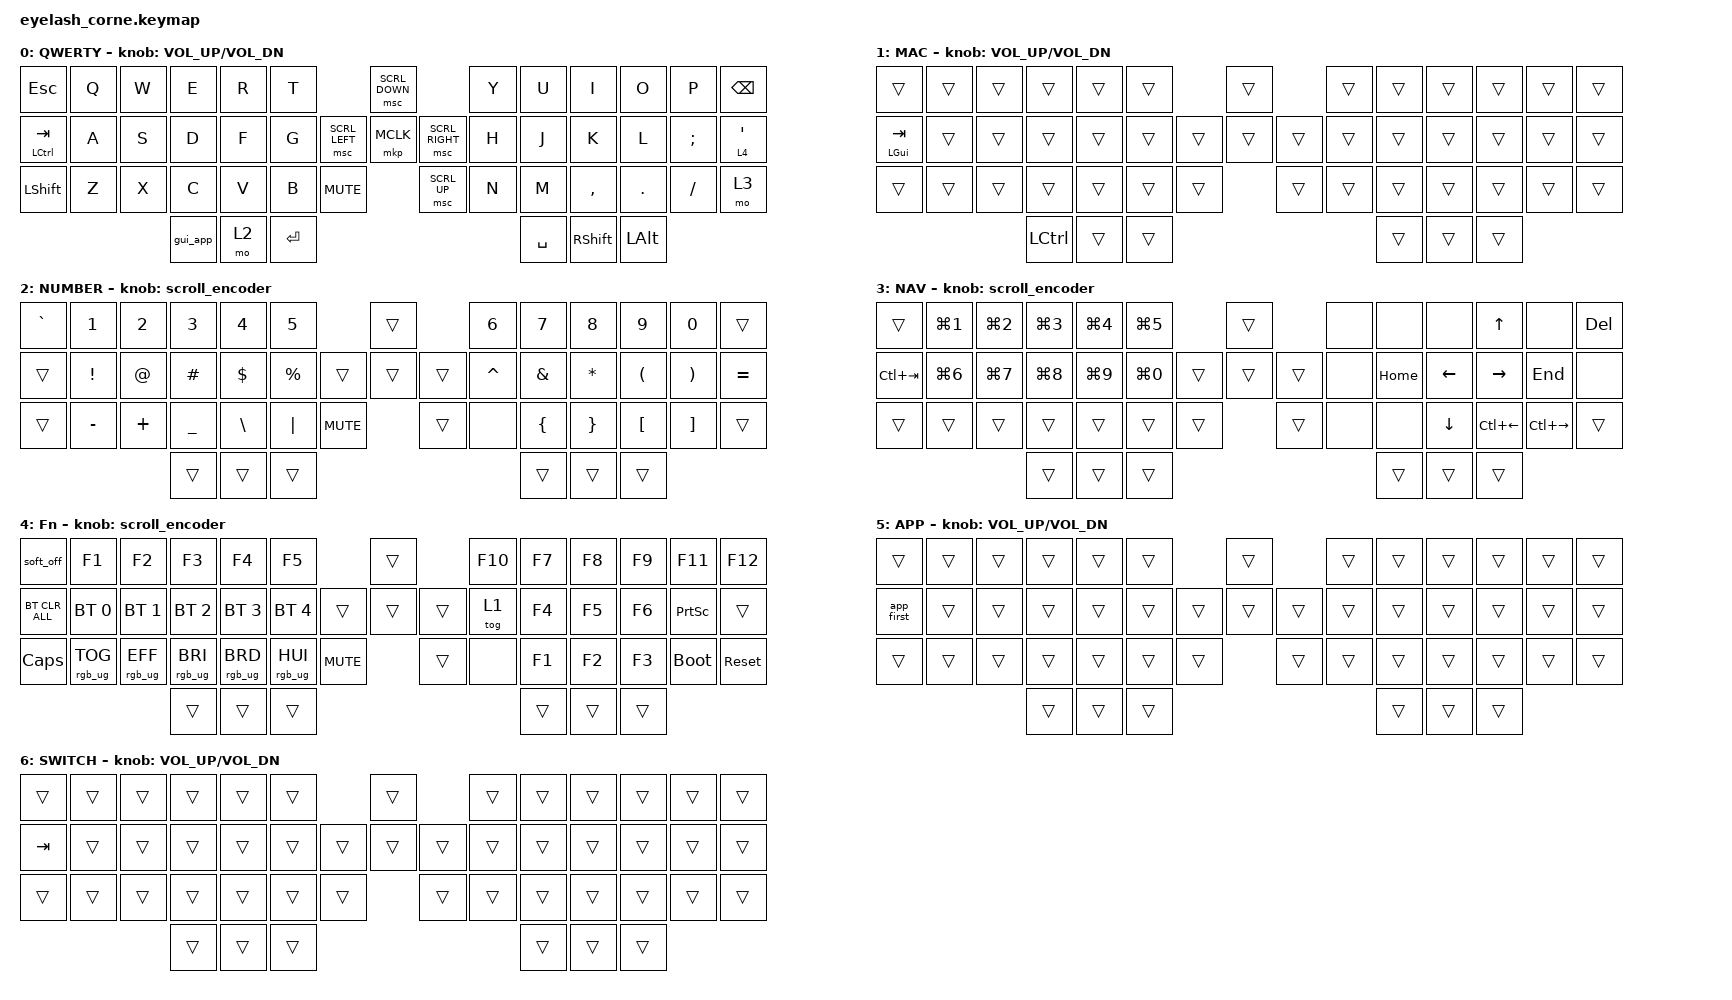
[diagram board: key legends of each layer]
#define ZMK_POINTING_DEFAULT_MOVE_VAL 2000  // 600
#define ZMK_POINTING_DEFAULT_SCRL_VAL 10

#include <input/processors.dtsi>
#include <zephyr/dt-bindings/input/input-event-codes.h>
#include <behaviors.dtsi>
#include <dt-bindings/zmk/bt.h>
#include <dt-bindings/zmk/keys.h>
#include <dt-bindings/zmk/outputs.h>
#include <dt-bindings/zmk/pointing.h>
#include <dt-bindings/zmk/rgb.h>

&mmv_input_listener { input-processors = <&zip_xy_scaler 1 1>; };

&msc_input_listener { input-processors = <&zip_scroll_scaler 1 1>; };

&msc {
    acceleration-exponent = <0>;
    time-to-max-speed-ms = <300>;
    delay-ms = <0>;
};

&mmv {
    time-to-max-speed-ms = <400>;
    acceleration-exponent = <1>;
    trigger-period-ms = <16>;
};

&lt {
    flavor = "tap-preferred";
    tapping-term-ms = <200>;
    quick-tap-ms = <150>;
    require-prior-idle-ms = <125>;
};

&mt {
    flavor = "tap-preferred";
    tapping-term-ms = <200>;
    quick-tap-ms = <150>;
    require-prior-idle-ms = <125>;
};

/ {
    rgb_encoder: rgb_encoder {
        compatible = "zmk,behavior-sensor-rotate";
        #sensor-binding-cells = <0>;
        bindings = <&rgb_ug RGB_BRI>, <&rgb_ug RGB_BRD>;
    };

    // Tab on tap, a modifier on hold (Ctrl; Gui on the MAC layer).
    // "balanced" so Ctrl+key registers as soon as the other key is tapped,
    // without waiting out the tapping term. No require-prior-idle: Ctrl
    // shortcuts must work immediately after typing.
    mod_tab: mod_tab {
        compatible = "zmk,behavior-hold-tap";
        #binding-cells = <2>;
        flavor = "balanced";
        tapping-term-ms = <200>;
        quick-tap-ms = <150>;
        bindings = <&kp>, <&kp>;
    };

    scroll_encoder: scroll_encoder {
        compatible = "zmk,behavior-sensor-rotate";
        #sensor-binding-cells = <0>;
        bindings = <&msc SCRL_DOWN>, <&msc SCRL_UP>;

        tap-ms = <100>;
    };

    macros {
        // Left outer thumb: Gui, plus the APP layer so that Tab can turn the
        // hold into an Alt+Tab app switcher. Releasing the thumb drops
        // everything the switcher may have left held; releasing a modifier
        // that is not held is a no-op in ZMK.
        gui_app: gui_app {
            compatible = "zmk,behavior-macro";
            #binding-cells = <0>;
            wait-ms = <0>;
            tap-ms = <0>;
            bindings =
                <&macro_press &kp LGUI &mo 5>,
                <&macro_pause_for_release>,
                <&macro_release &mo 6 &mo 5 &kp LALT &kp LGUI>;
        };

        // First Tab (the key left of A) while the thumb is held: swap Gui for Alt, leave Alt
        // held, and move to the SWITCH layer where Tab is a plain Tab, so
        // further taps keep cycling.
        //
        // Gui and Alt must never be down together: Android toggles Caps Lock
        // when a Gui+Alt chord is released. Gui must not look like a bare
        // tap either, since that opens the launcher/assistant. So tap right
        // Ctrl first (any non-Gui key cancels the bare-tap action), then
        // release Gui, and only then bring Alt down.
        app_first: app_first {
            compatible = "zmk,behavior-macro";
            #binding-cells = <0>;
            wait-ms = <10>;
            tap-ms = <10>;
            bindings =
                <&macro_tap &kp RCTRL>,
                <&macro_release &kp LGUI>,
                <&macro_press &kp LALT &mo 6>,
                <&macro_tap &kp TAB>;
        };
    };

    keymap {
        compatible = "zmk,keymap";

        default_layer {
            display-name = "QWERTY";
            bindings = <
&kp ESC    &kp Q  &kp W  &kp E     &kp R  &kp T                                    &msc SCRL_DOWN                   &kp Y        &kp U  &kp I      &kp O    &kp P     &kp BSPC
&mod_tab LCTRL TAB  &kp A  &kp S  &kp D  &kp F  &kp G                  &msc SCRL_LEFT  &mkp MCLK       &msc SCRL_RIGHT  &kp H        &kp J  &kp K      &kp L    &kp SEMI  &lt 4 SQT
&kp LSHFT  &kp Z  &kp X  &kp C     &kp V  &kp B        &kp C_MUTE                    &msc SCRL_UP                     &kp N        &kp M  &kp COMMA  &kp DOT  &kp FSLH  &mo 3
                         &gui_app  &mo 2  &kp ENTER                                              &kp SPACE  &kp RSHFT  &kp LALT
            >;

            sensor-bindings = <&inc_dec_kp C_VOLUME_UP C_VOL_DN>;
        };

        mac_layer {
            display-name = "MAC";
            bindings = <
&trans  &trans  &trans  &trans  &trans  &trans                                  &trans                          &trans  &trans  &trans  &trans  &trans  &trans
&mod_tab LGUI TAB  &trans  &trans  &trans  &trans  &trans                  &trans          &trans          &trans           &trans  &trans  &trans  &trans  &trans  &trans
&trans  &trans  &trans  &trans  &trans  &trans  &trans                          &trans                          &trans  &trans  &trans  &trans  &trans  &trans
                        &kp LCTRL  &trans  &trans                                                &trans  &trans  &trans
            >;

            sensor-bindings = <&inc_dec_kp C_VOLUME_UP C_VOL_DN>;
        };

        lower_layer {
            display-name = "NUMBER";
            bindings = <
&kp GRAVE  &kp N1      &kp N2      &kp N3      &kp N4    &kp N5                                         &trans                          &kp N6     &kp N7    &kp N8     &kp N9    &kp N0    &trans
&trans     &kp EXCL    &kp AT      &kp HASH    &kp DLLR  &kp PRCNT                    &trans          &trans          &trans           &kp CARET  &kp AMPS  &kp ASTRK  &kp LPAR  &kp RPAR  &kp EQUAL
&trans     &kp MINUS   &kp PLUS    &kp UNDER   &kp BSLH  &kp PIPE        &kp C_MUTE                    &trans                          &none      &kp LBRC  &kp RBRC   &kp LBKT  &kp RBKT  &trans
                                         &trans        &trans        &trans                                                                          &trans     &trans    &trans
            >;

            sensor-bindings = <&scroll_encoder>;
        };

        raise_layer {
            display-name = "NAV";
            bindings = <
&trans       &kp LG(N1)  &kp LG(N2)      &kp LG(N3)      &kp LG(N4)       &kp LG(N5)                                 &trans                          &none  &none     &none     &kp UP        &none          &kp DEL
&kp LC(TAB)  &kp LG(N6)  &kp LG(N7)      &kp LG(N8)      &kp LG(N9)       &kp LG(N0)              &trans         &trans          &trans           &none  &kp HOME  &kp LEFT  &kp RIGHT     &kp END        &none
&trans       &trans      &trans          &trans          &trans           &trans      &trans                        &trans                          &none  &none     &kp DOWN  &kp LC(LEFT)  &kp LC(RIGHT)  &trans
                                         &trans          &trans           &trans                                                                    &trans  &trans  &trans
            >;

            sensor-bindings = <&scroll_encoder>;
        };

        layer_3 {
            display-name = "Fn";
            bindings = <
&soft_off       &kp F1      &kp F2        &kp F3        &kp F4        &kp F5                                  &trans                          &kp F10    &kp F7  &kp F8  &kp F9  &kp F11          &kp F12
&bt BT_CLR_ALL  &bt BT_SEL 0    &bt BT_SEL 1  &bt BT_SEL 2  &bt BT_SEL 3  &bt BT_SEL 4                &trans          &trans          &trans           &tog 1     &kp F4  &kp F5  &kp F6  &kp PRINTSCREEN  &trans
&kp CAPS        &rgb_ug RGB_TOG  &rgb_ug RGB_EFF  &rgb_ug RGB_BRI  &rgb_ug RGB_BRD  &rgb_ug RGB_HUI  &kp C_MUTE                    &trans                          &none      &kp F1  &kp F2  &kp F3  &bootloader      &sys_reset
                                       &trans       &trans     &trans                                                                   &trans     &trans  &trans
            >;

            sensor-bindings = <&scroll_encoder>;
        };

        app_layer {
            display-name = "APP";
            bindings = <
&trans  &trans  &trans  &trans  &trans  &trans  &trans  &trans  &trans  &trans  &trans  &trans  &trans
&app_first  &trans  &trans  &trans  &trans  &trans  &trans  &trans  &trans  &trans  &trans  &trans  &trans  &trans  &trans
&trans  &trans  &trans  &trans  &trans  &trans  &trans  &trans  &trans  &trans  &trans  &trans  &trans  &trans
&trans  &trans  &trans  &trans  &trans  &trans
            >;

            sensor-bindings = <&inc_dec_kp C_VOLUME_UP C_VOL_DN>;
        };

        switch_layer {
            display-name = "SWITCH";
            bindings = <
&trans  &trans  &trans  &trans  &trans  &trans  &trans  &trans  &trans  &trans  &trans  &trans  &trans
&kp TAB  &trans  &trans  &trans  &trans  &trans  &trans  &trans  &trans  &trans  &trans  &trans  &trans  &trans  &trans
&trans  &trans  &trans  &trans  &trans  &trans  &trans  &trans  &trans  &trans  &trans  &trans  &trans  &trans
&trans  &trans  &trans  &trans  &trans  &trans
            >;

            sensor-bindings = <&inc_dec_kp C_VOLUME_UP C_VOL_DN>;
        };
    };
};
